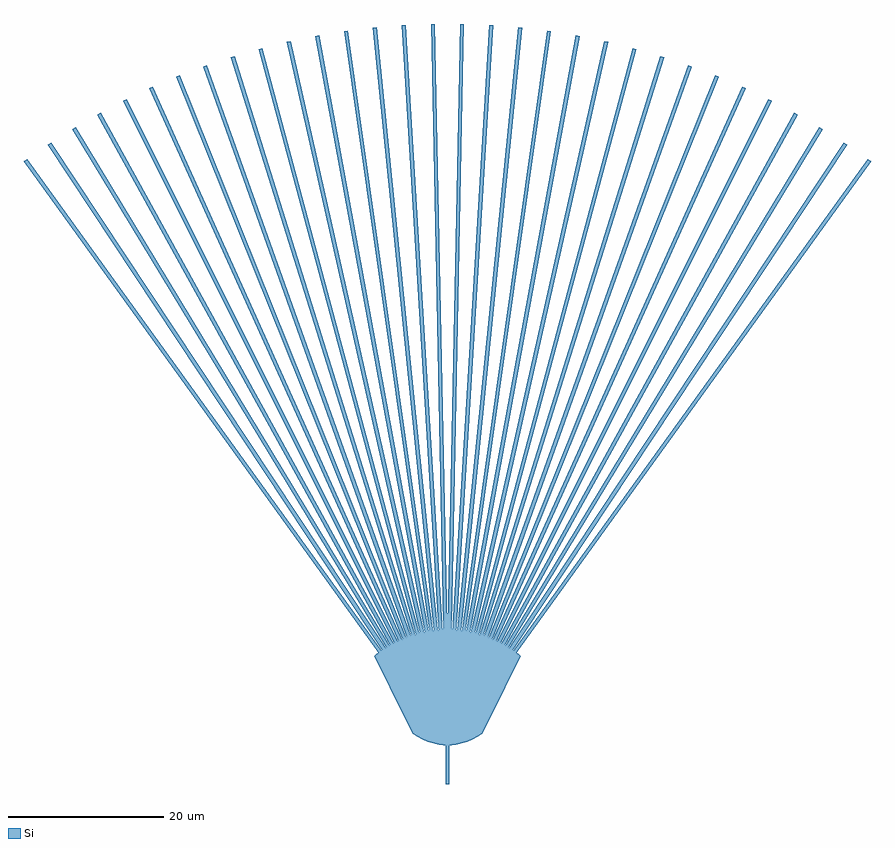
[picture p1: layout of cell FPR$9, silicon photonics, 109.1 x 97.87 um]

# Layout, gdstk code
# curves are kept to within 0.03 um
from math import pi, radians
import gdstk
lib = gdstk.Library(unit=1e-6, precision=1e-09)
def R(c, l, rs):  # rectangles x0, y0, x1, y1
    for r in rs: c.add(gdstk.rectangle(r[:2], r[2:], *l))
def P(c, l, *ps):  # polygons
    for p in ps: c.add(gdstk.Polygon(p, *l))
Si = (1, 0)

taper002_9 = lib.new_cell('taper002$9')
R(taper002_9, Si, [(-78,-0.25,2.5,0.25)])

boolean_9 = lib.new_cell('boolean$9')
P(boolean_9, Si, [(4.042,-9.461),(-5.95,-4.465),(-6.569,-3.493),(-7.076,-2.299),(-7.368,-1.035),(-7.44,0),(-7.368,1.035),(-7.076,2.299),(-6.569,3.493),(-5.95,4.465),(4.042,9.461),(4.896,8.321),(5.446,7.44),(6.154,6.052),(6.543,5.089),(6.864,4.101),(7.214,2.584),(7.404,1.038),(7.44,0),(7.404,-1.038),(7.214,-2.584),(6.864,-4.101),(6.543,-5.089),(6.154,-6.052),(5.446,-7.44),(4.896,-8.321)])

taper_9 = lib.new_cell('taper$9')
R(taper_9, Si, [(-5,-0.25,2.5,0.25)])

fpr_9 = lib.new_cell('FPR$9')
fpr_9.add(gdstk.Reference(taper002_9, (-74.666,5.289), rotation=radians(301.1913), x_reflection=True))
fpr_9.add(gdstk.Reference(taper002_9, (-74.147,5.589), rotation=radians(298.8809), x_reflection=True))
fpr_9.add(gdstk.Reference(taper002_9, (-73.616,5.868), rotation=radians(296.5704), x_reflection=True))
fpr_9.add(gdstk.Reference(taper002_9, (-67.86,7.413), rotation=radians(273.4657), x_reflection=True))
fpr_9.add(gdstk.Reference(taper002_9, (-63.104,6.932), rotation=radians(254.9819), x_reflection=True))
fpr_9.add(gdstk.Reference(taper002_9, (-70.816,6.932), rotation=radians(285.0181), x_reflection=True))
fpr_9.add(gdstk.Reference(taper002_9, (-72.522,6.361), rotation=radians(291.9495), x_reflection=True))
fpr_9.add(gdstk.Reference(taper002_9, (-62.528,6.765), rotation=radians(252.6715), x_reflection=True))
fpr_9.add(gdstk.Reference(taper002_9, (-61.959,6.574), rotation=radians(250.361), x_reflection=True))
fpr_9.add(gdstk.Reference(taper002_9, (-64.275,7.196), rotation=radians(259.6029), x_reflection=True))
fpr_9.add(gdstk.Reference(taper002_9, (-75.667,4.627), rotation=radians(305.8123), x_reflection=True))
fpr_9.add(gdstk.Reference(taper002_9, (-61.398,6.361), rotation=radians(248.0505), x_reflection=True))
fpr_9.add(gdstk.Reference(taper002_9, (-59.254,5.289), rotation=radians(238.8087), x_reflection=True))
fpr_9.add(gdstk.Reference(taper002_9, (-59.773,5.589), rotation=radians(241.1191), x_reflection=True))
fpr_9.add(gdstk.Reference(taper002_9, (-63.687,7.076), rotation=radians(257.2924), x_reflection=True))
fpr_9.add(gdstk.Reference(taper002_9, (-60.846,6.126), rotation=radians(245.7401), x_reflection=True))
fpr_9.add(gdstk.Reference(taper002_9, (-65.462,7.364), rotation=radians(264.2238), x_reflection=True))
fpr_9.add(gdstk.Reference(taper002_9, (-58.747,4.968), rotation=radians(236.4982), x_reflection=True))
fpr_9.add(gdstk.Reference(boolean_9, (-66.96,0), rotation=pi/2))
fpr_9.add(gdstk.Reference(taper002_9, (-64.867,7.292), rotation=radians(261.9134), x_reflection=True))
fpr_9.add(gdstk.Reference(taper002_9, (-73.074,6.126), rotation=radians(294.2599), x_reflection=True))
fpr_9.add(gdstk.Reference(taper002_9, (-66.06,7.413), rotation=radians(266.5343), x_reflection=True))
fpr_9.add(gdstk.Reference(taper002_9, (-66.66,7.437), rotation=radians(268.8448), x_reflection=True))
fpr_9.add(gdstk.Reference(taper002_9, (-75.173,4.968), rotation=radians(303.5018), x_reflection=True))
fpr_9.add(gdstk.Reference(taper002_9, (-67.26,7.437), rotation=radians(271.1552), x_reflection=True))
fpr_9.add(gdstk.Reference(taper002_9, (-68.458,7.364), rotation=radians(275.7762), x_reflection=True))
fpr_9.add(gdstk.Reference(taper002_9, (-70.233,7.076), rotation=radians(282.7076), x_reflection=True))
fpr_9.add(gdstk.Reference(taper002_9, (-60.304,5.868), rotation=radians(243.4296), x_reflection=True))
fpr_9.add(gdstk.Reference(taper002_9, (-69.053,7.292), rotation=radians(278.0866), x_reflection=True))
fpr_9.add(gdstk.Reference(taper002_9, (-69.645,7.196), rotation=radians(280.3971), x_reflection=True))
fpr_9.add(gdstk.Reference(taper002_9, (-71.392,6.765), rotation=radians(287.3285), x_reflection=True))
fpr_9.add(gdstk.Reference(taper002_9, (-58.253,4.627), rotation=radians(234.1877), x_reflection=True))
fpr_9.add(gdstk.Reference(taper_9, (-66.96,-7.44), rotation=pi/2))
fpr_9.add(gdstk.Reference(taper002_9, (-71.961,6.574), rotation=radians(289.639), x_reflection=True))

lib.write_gds('FPR_9.gds')
